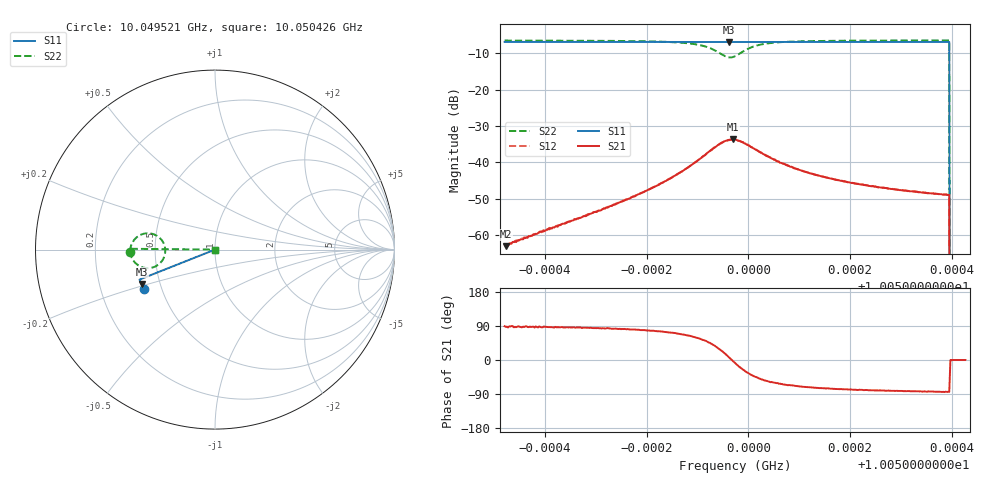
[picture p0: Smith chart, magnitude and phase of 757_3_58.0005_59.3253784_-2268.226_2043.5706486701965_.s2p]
#  HZ  S  RI  R  50.00
! Rohde & Schwarz Vector Network Analyzer
! Rohde-Schwarz,ZNB20-2Port,1311601062101988,3.16
! Created: UTC 3/21/2024, 1:24:15 AM
! freq[Hz]  re:S11  im:S11  re:S21  im:S21  re:S12  im:S12  re:S22  im:S22
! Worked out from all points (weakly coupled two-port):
!   401 points, 10.049521 GHz to 10.050426 GHz, reference 50 ohm
!   highest |S21| = -33.69 dB at 10.049969 GHz (marker M1); lowest = -63.1 dB at 10.049523 GHz (marker M2)
!   lowest |S11| = -6.9 dB at 10.049962 GHz (marker M3), VSWR 2.64, Z = 19.7 - j9.52 ohm
!   |S11| at or under -10 dB: 10.050395 GHz to end of sweep
!   |S22| runs from - to -6.5 dB; largest |S21 - S12| = 0.0016
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1.00495208e10  -0.3973 -0.219  1.1e-05 0.000731  -9.19e-06 0.000726  -0.4736 -0.0106
1.00495231e10  -0.3974 -0.2189  3.34e-05 0.000702  -2e-05 0.000716  -0.4736 -0.0102
1.00496725e10  -0.402 -0.21  0.000176 0.00175  5.14e-05 0.00177  -0.471 0.00954
1.0049763e10  -0.4045 -0.2045  0.000454 0.0031  0.000302 0.00314  -0.4657 0.0278
1.00498242e10  -0.4061 -0.2005  0.00121 0.00477  0.000993 0.00488  -0.4556 0.0471
1.00498672e10  -0.4071 -0.1977  0.00273 0.00682  0.00232 0.00701  -0.4379 0.0671
1.00499057e10  -0.408 -0.1951  0.00636 0.00932  0.00589 0.00968  -0.3985 0.0879
1.00499215e10  -0.408 -0.194  0.00956 0.01  0.00882 0.0106  -0.368 0.0909
1.00499373e10  -0.408 -0.193  0.0138 0.00932  0.0133 0.0101  -0.3273 0.0789
1.00499509e10  -0.4077 -0.1926  0.018 0.00663  0.0175 0.00768  -0.2925 0.0467
1.00499622e10  -0.4076 -0.1922  0.0204 0.00217  0.02 0.00345  -0.2776 0.00303
1.0049969e10  -0.4078 -0.1921  0.0207 -0.000784  0.0204 0.000508  -0.2791 -0.0258
1.00499736e10  -0.408 -0.192  0.0203 -0.00271  0.0203 -0.00152  -0.2846 -0.044
1.00499962e10  -0.4089 -0.1915  0.015 -0.00929  0.0157 -0.00836  -0.3429 -0.0982
1.00500279e10  -0.4105 -0.1898  0.00814 -0.0103  0.00881 -0.0098  -0.4107 -0.0963
1.00500618e10  -0.4117 -0.1877  0.00456 -0.00874  0.00525 -0.00866  -0.4431 -0.0751
1.00501252e10  -0.4137 -0.1837  0.00211 -0.00665  0.00251 -0.0065  -0.4639 -0.0454
1.00501977e10  -0.4156 -0.1792  0.0011 -0.0052  0.00143 -0.00515  -0.4708 -0.0253
1.00502769e10  -0.4175 -0.1744  0.000664 -0.0043  0.000945 -0.00425  -0.4735 -0.0108
1.00503901e10  -0.4202 -0.1673  0.000365 -0.00354  0.000605 -0.00354  -0.4747 0.00426
1.00504014e10  0 0  0 0  0 0  0 0
1.00504263e10  0 0  0 0  0 0  0 0
